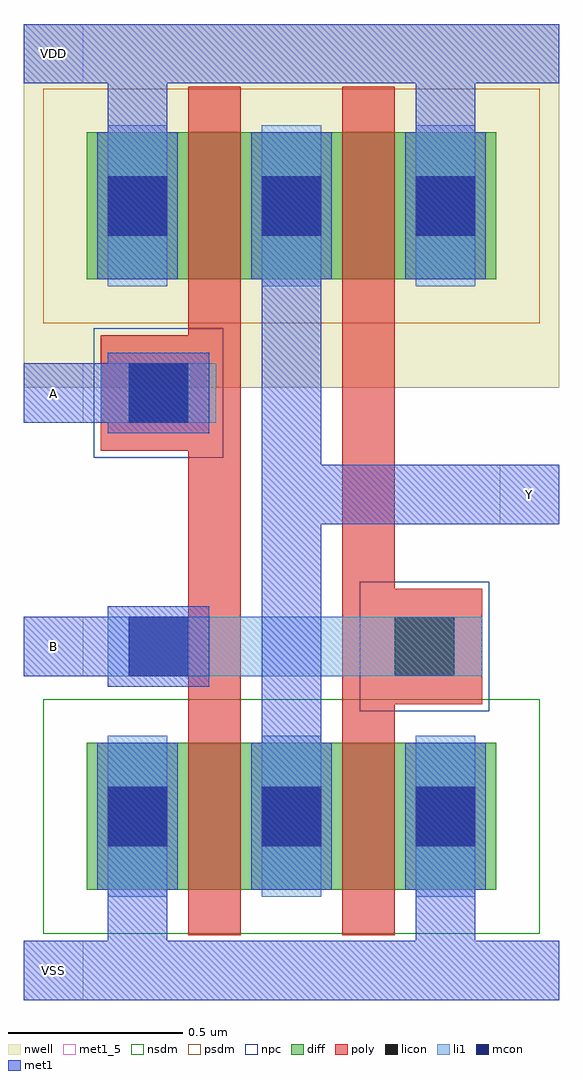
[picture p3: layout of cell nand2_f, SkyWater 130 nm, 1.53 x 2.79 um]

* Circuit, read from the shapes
.subckt nand2_f A B VDD VSS Y
XM1 Y A VSS VSUBS sky130_fd_pr__nfet_01v8 w=0.42 l=0.15
XM2 VSS B Y VSUBS sky130_fd_pr__nfet_01v8 w=0.42 l=0.15
XM3 Y A VDD n1 sky130_fd_pr__pfet_01v8 w=0.42 l=0.15
XM4 VDD B Y n1 sky130_fd_pr__pfet_01v8 w=0.42 l=0.15
.ends

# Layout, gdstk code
import gdstk
lib = gdstk.Library(unit=1e-6, precision=5e-09)
def R(c, l, rs):  # rectangles x0, y0, x1, y1
    for r in rs: c.add(gdstk.rectangle(r[:2], r[2:], *l))
def A(c, l, x, y, w, h, nx, ny, dx, dy):  # array of equal rectangles
    R(c, l, [(x+i*dx, y+j*dy, x+i*dx+w, y+j*dy+h) for i in range(nx) for j in range(ny)])
nwell = (64, 20)
diff = (65, 20)
poly = (66, 20)
licon = (66, 44)
li1 = (67, 20)
mcon = (67, 44)
met1_5 = (68, 5)
met1 = (68, 20)
nsdm = (93, 44)
psdm = (94, 20)
npc = (95, 20)

nand2_f = lib.new_cell('nand2_f')
R(nand2_f, nwell, [(0,2.205,1.53,3.245)])
R(nand2_f, diff, [(0.18,0.77,1.35,1.19), (0.18,2.515,1.35,2.935)])
R(nand2_f, poly, [(0.47,0.64,0.62,2.025), (0.91,0.64,1.06,1.3), (0.91,1.3,1.31,1.63), (0.91,1.63,1.06,3.065), (0.22,2.025,0.62,2.355), (0.47,2.355,0.62,3.065)])
A(nand2_f, licon, 0.24, 0.895, 0.17, 0.17, 3, 2, 0.44, 1.745)
R(nand2_f, licon, [(1.06,1.38,1.23,1.55), (0.3,2.105,0.47,2.275)])
A(nand2_f, li1, 0.24, 0.75, 0.17, 0.46, 3, 2, 0.44, 1.745)
R(nand2_f, li1, [(0.24,1.38,1.31,1.55), (0.22,2.105,0.55,2.275)])
A(nand2_f, mcon, 0.24, 0.895, 0.17, 0.17, 3, 2, 0.44, 1.745)
R(nand2_f, mcon, [(0.3,1.38,0.47,1.55), (0.3,2.105,0.47,2.275)])
R(nand2_f, met1_5, [(0,0.455,0.17,0.625), (0,1.38,0.17,1.55), (1.36,1.815,1.53,1.985), (0,2.105,0.17,2.275), (0,3.075,0.17,3.245)])
A(nand2_f, met1, 0.21, 0.77, 0.23, 0.42, 3, 2, 0.44, 1.745)
R(nand2_f, met1, [(0,0.455,1.53,0.625), (0.24,0.625,0.41,0.77), (1.12,0.625,1.29,0.77), (0.68,1.19,0.85,1.815), (0.24,1.35,0.53,1.38), (0,1.38,0.53,1.55), (0.24,1.55,0.53,1.58), (0.68,1.815,1.53,1.985), (0.68,1.985,0.85,2.515), (0.24,2.075,0.53,2.105), (0,2.105,0.53,2.275), (0.24,2.275,0.53,2.305), (0.24,2.935,0.41,3.075), (1.12,2.935,1.29,3.075), (0,3.075,1.53,3.245)])
R(nand2_f, nsdm, [(0.055,0.645,1.475,1.315)])
R(nand2_f, psdm, [(0.055,2.39,1.475,3.06)])
R(nand2_f, npc, [(0.96,1.28,1.33,1.65), (0.2,2.005,0.57,2.375)])
nand2_f.add(gdstk.Label('VDD', (0.085,3.16), layer=68, texttype=5))
nand2_f.add(gdstk.Label('A', (0.085,2.19), layer=68, texttype=5))
nand2_f.add(gdstk.Label('B', (0.085,1.465), layer=68, texttype=5))
nand2_f.add(gdstk.Label('VSS', (0.085,0.54), layer=68, texttype=5))
nand2_f.add(gdstk.Label('Y', (1.445,1.9), layer=68, texttype=5))

lib.write_gds('nand2_f.gds')
